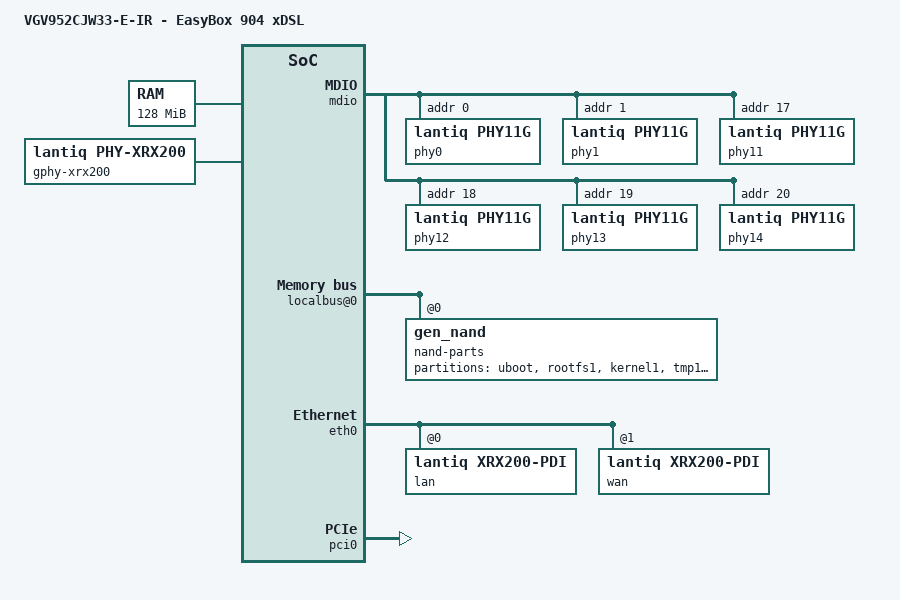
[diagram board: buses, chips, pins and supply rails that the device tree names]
/dts-v1/;

#include "vr9.dtsi"

/ {
	model = "VGV952CJW33-E-IR - EasyBox 904 xDSL";

	chosen {
		// Bootargs when no vpe is used
		// bootargs = "console=ttyLTQ0,115200 ubi.mtd=12 panic=1 DTS-TEST-SEQNO=77 root=/dev/sda2 rootdelay=7";

		// Bootargs when vpe is used
		bootargs = "console=ttyLTQ0,115200 ubi.mtd=12 panic=1 DTS-TEST-SEQNO=77 root=/dev/sda3 rootdelay=7 mem=116M phym=128M vpe1_load_addr=0x87e00000 vpe1_mem=2M maxvpes=1 maxtcs=1";
	};

	memory@0 {
		reg = <0x0 0x8000000>;
	};

	mdio: mdio@0 {
			#address-cells = <1>;
			#size-cells = <0>;
			compatible = "lantiq,xrx200-mdio";
			phy0: ethernet-phy@0 {
				reg = <0x0>;
				compatible = "lantiq,phy11g", "ethernet-phy-ieee802.3-c22";
			};
			phy1: ethernet-phy@1 {
				reg = <0x1>;
				compatible = "lantiq,phy11g", "ethernet-phy-ieee802.3-c22";
			};
			phy11: ethernet-phy@11 {
				reg = <0x11>;
				compatible = "lantiq,phy11g", "ethernet-phy-ieee802.3-c22";
			};
			phy12: ethernet-phy@12 {
				reg = <0x12>;
				compatible = "lantiq,phy11g", "ethernet-phy-ieee802.3-c22";
			};
			phy13: ethernet-phy@13 {
				reg = <0x13>;
				compatible = "lantiq,phy11g", "ethernet-phy-ieee802.3-c22";
			};				
			phy14: ethernet-phy@14 {
				reg = <0x14>;
				compatible = "lantiq,phy11g", "ethernet-phy-ieee802.3-c22";
			};
		};

	gphy-xrx200 {
		compatible = "lantiq,phy-xrx200";
		firmware1 = "lantiq/vr9_phy11g_a1x.bin";	/*VR9 1.1*/
		firmware2 = "lantiq/vr9_phy11g_a2x.bin";	/*VR9 1.2*/
		phys = [ 00 01 ];
	};
	
	rtl8367b {
		compatible = "realtek,rtl8367b";
		//gpio-sda = <&gpio0 1 0>;
		//gpio-sck = <&gpio0 2 0>;
		//cpu_port = <7>;
		realtek,extif1 = <1 0 1 1 1 1 1 1 2>; // default found on other profiles
		//realtek,extif1   = <1 0 1 1 0 0 1 1 2>; // based on vendor uboot-config
		mdio = <&mdio>;
	};	

	sram@1F000000 {
		vmmc@107000 {
			status = "okay";
			gpios = <&gpio 37 GPIO_ACTIVE_HIGH>; //reset_slic!
		};
	};
	
	fpi@10000000 {
		localbus@0 {

			ranges = <0 0 0x4000000 0x3ffffff>;		// Seems to be needed (from EASY80920.dtsi, P2812HNUF1.dts, P2812HNUF3.dts, ...)


			nand-parts@0 {
				compatible = "gen_nand", "lantiq,nand-xway";
				bank-width = <2>;
				reg = <0 0x0 0x2000000>;
				#address-cells = <1>;
				#size-cells = <1>;
				lantiq,cs = <1>;			// Seems to be needed (EASY80920NAND.dts)

				partitions {
					compatible = "fixed-partitions";
					#address-cells = <1>;
					#size-cells = <1>;
					partition@0 {
						label = "uboot";
						reg = <0x0 0x40000>;
					};

					partition@40000 {
						label = "rootfs1";		// Called "rootfs" in u-boot env. Contains orig. squashfs rootfs
						reg = <0x40000 0x3C00000>;
					};

					partition@3C40000 {
						label = "kernel1";		// Called "kernel" in u-boot env. Contains orig. kernel
						reg = <0x3C40000 0x500000>;
					};

					partition@4140000 {
						label = "tmp1";
						reg = <0x4140000 0x100000>;
					};

					partition@4240000 {
						label = "tmp2";
						reg = <0x4240000 0x200000>;
					};

					partition@4440000 {
						label = "sysconfig";
						reg = <0x4440000 0x100000>;
					};

					partition@4540000 {
						label = "ubootconfig";
						reg = <0x4540000 0x100000>;
					};

					partition@4640000 {
						label = "fwdiag";
						reg = <0x4640000 0xC0000>;
					};

					partition@4700000 {
						label = "lcdimage";
						reg = <0x4700000 0x300000>;
					};

					partition@4A00000 {
						label = "mfgconfig";
						reg = <0x4A00000 0x100000>;
					};

					partition@4B00000 {
						label = "sipdata";
						reg = <0x4B00000 0x100000>;
					};

					partition@4C00000 {
						label = "voice";
						reg = <0x4C00000 0x4000000>;
					};

					partition@8C00000 {			// Used for our real open OpenWrt system for ubi-squashfs (rootfs) and ubifs (rootfs_data)
						label = "misc";			// Rename to "firmware" for special squashfs-rootfs/jffs2-rootfs_data treatment by OpenWrt
						reg = <0x8C00000 0x13200000>;
					};

					partition@1BE00000 {
						label = "rootfs2";
						reg = <0x1BE00000 0x3c00000>;
					};

					partition@1FA00000 {
						label = "kernel2";
						reg = <0x1FA00000 0x500000>;
					};

					partition@1FF00000 {
						label = "mystery";		// Missing in original u-boot environment, seems to be empty (erased)
						reg = <0x1FF00000 0x100000>;
					};
				};
			};
		};
		
		ifxhcd@E101000 {
			status = "okay";
			gpios = <&gpio 33 0>;				// Seems to be needed. Possibly 5, 14, 20, 39 also used by USB
			//lantiq,portmask = <0x3>;			// Obsolete? "lantiq/portmask" not found in kernel at drivers/usb/dwc2/
		};

		ifxhcd@E106000 {
			status = "okay";
			gpios = <&gpio 33 0>;				// P2812HNUFX.dtsi, TDW8970.dts
			};


		/*
		*  Following is the very experimental part which is broken and requires much more elaboration
		*/

		stp: stp@E100BB0 {
			compatible = "lantiq,gpio-stp-xway";
			reg = <0xE100BB0 0x40>;
			#gpio-cells = <2>;
			gpio-controller;

			lantiq,shadow = <0xffff>;
			lantiq,groups = <0x7>;
			lantiq,dsl = <0x3>;
			lantiq,phy1 = <0x7>;
			lantiq,phy2 = <0x7>;
		};


		// From FRITZ3370.dts
		gpio: pinmux@E100B10 {
			pinctrl-names = "default";
			pinctrl-0 = <&state_default>;

			state_default: pinmux {
                                mdio {
                                        lantiq,groups = "mdio";
                                        lantiq,function = "mdio";
                                };

				phy-rst {	// I have no idea wether this makes sense
					lantiq,pins = "io37", "io44";			// FRITZ3370.dts
				  //	lantiq,pins = "io42";				// TDW8970.dts
					lantiq,pull = <0>;
					lantiq,open-drain = <0>;
					lantiq,output = <1>;
                                };

				pcie-rst {
					lantiq,pins = "io38";				// FRITZ3370.dts, TDW8970.dts, EASY80920.dtsi, P2812HNUFX.dtsi
				   //  	lantiq,pins = "io21";				// ARV7519RW22.dts
					lantiq,pull = <0>;
					lantiq,output = <1>;
				};
			};
		};
	};
};

&eth0 {
	lan: interface@0 {
		compatible = "lantiq,xrx200-pdi";
		#address-cells = <1>;
		#size-cells = <0>;
		reg = <0>;                                
		mac-address = [ 00 11 22 33 44 55 ];
		lantiq,switch;
		ethernet@2 {
			compatible = "lantiq,xrx200-pdi-port";
			reg = <2>;
			phy-mode = "gmii";
			phy-handle = <&phy11>;
		};
	};

	/* wan port */
	wan: interface@1 {
		compatible = "lantiq,xrx200-pdi";
		#address-cells = <1>;
		#size-cells = <0>;
		reg = <1>;
		mac-address = [ 00 11 22 33 44 56 ];
		/* Enabling wan mode on this interface causes kernel panics
		   in case port link isn't up */
		// lantiq,wan;
		ethernet@4 {
			compatible = "lantiq,xrx200-pdi-port";
			reg = <4>;
			phy-mode = "gmii";
			phy-handle = <&phy13>;
		};
	};
};

&pci0 {
	status = "okay";
	gpio-reset = <&gpio 21 GPIO_ACTIVE_HIGH>;
};

&pcie0 {
	pcie@0 {
		reg = <0 0 0 0 0>;
		#interrupt-cells = <1>;
		#size-cells = <2>;
		#address-cells = <3>;
		device_type = "pci";
	};
};
